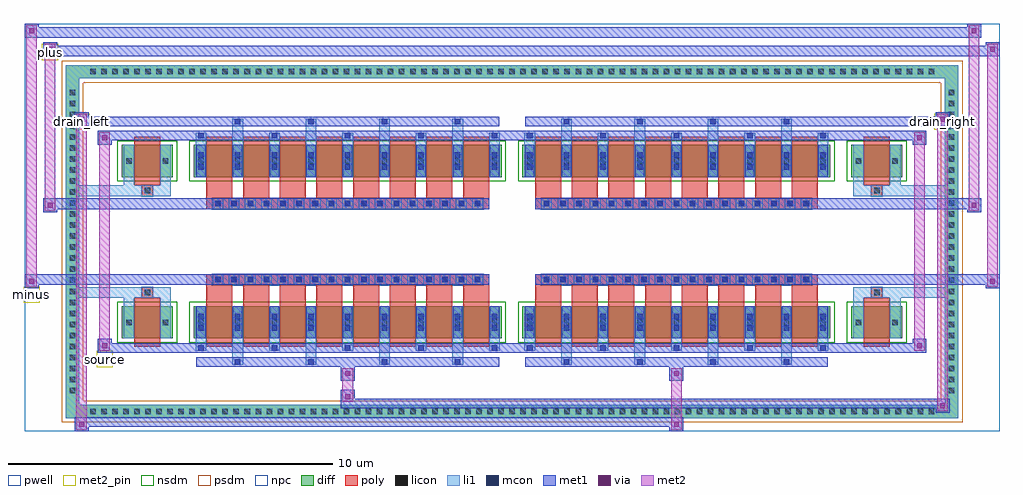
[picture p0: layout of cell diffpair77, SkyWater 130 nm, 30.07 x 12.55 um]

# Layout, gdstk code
import gdstk
lib = gdstk.Library(unit=1e-6, precision=5e-09)
def R(c, l, rs):  # rectangles x0, y0, x1, y1
    for r in rs: c.add(gdstk.rectangle(r[:2], r[2:], *l))
def A(c, l, x, y, w, h, nx, ny, dx, dy):  # array of equal rectangles
    R(c, l, [(x+i*dx, y+j*dy, x+i*dx+w, y+j*dy+h) for i in range(nx) for j in range(ny)])
def P(c, l, *ps):  # polygons
    for p in ps: c.add(gdstk.Polygon(p, *l))
pwell = (64, 44)
diff = (65, 20)
poly = (66, 20)
licon = (66, 44)
li1 = (67, 20)
mcon = (67, 44)
met1 = (68, 20)
via = (68, 44)
met2_pin = (69, 16)
met2 = (69, 20)
nsdm = (93, 44)
psdm = (94, 20)
npc = (95, 20)

diffpair77 = lib.new_cell('diffpair77')
R(diffpair77, pwell, [(-15.02,-5.84,15.02,6.71), (-12.34,-4.03,-0.01,-0.805), (0.01,-4.03,12.34,-0.805), (-12.34,0.805,-0.01,4.03), (0.01,0.805,12.34,4.03)])
A(diffpair77, diff, -13.125, -5.44, 0.41, 0.41, 77, 2, 0.34, 10.47)
A(diffpair77, diff, -13.75, -4.795, 0.41, 0.41, 1, 28, 0, 0.34)
A(diffpair77, diff, 13.34, -4.795, 0.41, 0.41, 1, 28, 0, 0.34)
R(diffpair77, diff, [(-13.125,-5.44,13.125,-5.03), (-13.75,-4.795,-13.34,4.795), (13.34,-4.795,13.75,4.795), (-12.03,-2.985,-10.45,-1.985), (-9.81,-2.985,-0.32,-1.985), (0.32,-2.985,9.81,-1.985), (10.45,-2.985,12.03,-1.985), (-12.03,1.985,-10.45,2.985), (-9.81,1.985,-0.32,2.985), (0.32,1.985,9.81,2.985), (10.45,1.985,12.03,2.985), (-13.125,5.03,13.125,5.44)])
P(diffpair77, diff, [(13.75,5.44),(-13.75,5.44),(-13.75,-5.03),(-13.34,-5.03),(-13.34,5.03),(13.34,5.03),(13.34,-5.03),(-13.34,-5.03),(-13.75,-5.03),(-13.75,-5.44),(13.75,-5.44)])
A(diffpair77, poly, -9.42, -3.235, 0.8, 1.5, 8, 2, 1.13, 4.97)
A(diffpair77, poly, 0.71, -3.235, 0.8, 1.5, 8, 2, 1.13, 4.97)
A(diffpair77, poly, -9.42, -1.735, 0.8, 0.4, 8, 2, 1.13, 3.07)
A(diffpair77, poly, 0.71, -1.735, 0.8, 0.4, 8, 2, 1.13, 3.07)
A(diffpair77, poly, -9.23, -1.335, 0.33, 0.33, 17, 2, 0.5, 2.34)
A(diffpair77, poly, 0.9, -1.335, 0.33, 0.33, 17, 2, 0.5, 2.34)
R(diffpair77, poly, [(-11.64,-3.235,-10.84,-1.735), (10.84,-3.235,11.64,-1.735), (-11.405,-1.735,-11.075,-1.405), (-11.405,-1.735,-11.075,-1.405), (11.075,-1.735,11.405,-1.405), (11.075,-1.735,11.405,-1.405), (-9.42,-1.335,-0.71,-1.005), (0.71,-1.335,9.42,-1.005), (-9.42,1.005,-0.71,1.335), (0.71,1.005,9.42,1.335), (-11.405,1.405,-11.075,1.735), (-11.405,1.405,-11.075,1.735), (11.075,1.405,11.405,1.735), (11.075,1.405,11.405,1.735), (-11.64,1.735,-10.84,3.235), (10.84,1.735,11.64,3.235)])
A(diffpair77, licon, -13.005, -5.32, 0.17, 0.17, 77, 2, 0.34, 10.47)
A(diffpair77, licon, -13.63, -4.675, 0.17, 0.17, 1, 28, 0, 0.34)
A(diffpair77, licon, 13.46, -4.675, 0.17, 0.17, 1, 28, 0, 0.34)
A(diffpair77, licon, -9.67, -2.57, 0.17, 0.17, 9, 2, 1.13, 4.97)
A(diffpair77, licon, 0.46, -2.57, 0.17, 0.17, 9, 2, 1.13, 4.97)
A(diffpair77, licon, -9.15, -1.255, 0.17, 0.17, 17, 2, 0.5, 2.34)
A(diffpair77, licon, 0.98, -1.255, 0.17, 0.17, 17, 2, 0.5, 2.34)
R(diffpair77, licon, [(-11.89,-2.57,-11.72,-2.4), (-10.76,-2.57,-10.59,-2.4), (10.59,-2.57,10.76,-2.4), (11.72,-2.57,11.89,-2.4), (-11.325,-1.655,-11.155,-1.485), (11.155,-1.655,11.325,-1.485), (-11.325,1.485,-11.155,1.655), (11.155,1.485,11.325,1.655), (-11.89,2.4,-11.72,2.57), (-10.76,2.4,-10.59,2.57), (10.59,2.4,10.76,2.57), (11.72,2.4,11.89,2.57)])
A(diffpair77, li1, -13.085, -5.4, 0.33, 0.33, 77, 2, 0.34, 10.47)
A(diffpair77, li1, -13.71, -4.755, 0.33, 0.33, 1, 28, 0, 0.34)
A(diffpair77, li1, 13.38, -4.755, 0.33, 0.33, 1, 28, 0, 0.34)
A(diffpair77, li1, -8.62, -3.79, 0.33, 0.805, 4, 2, 2.26, 6.775)
A(diffpair77, li1, -8.54, -3.79, 0.17, 0.17, 4, 2, 2.26, 7.41)
A(diffpair77, li1, 1.51, -3.79, 0.33, 0.805, 4, 2, 2.26, 6.775)
A(diffpair77, li1, 1.59, -3.79, 0.17, 0.17, 4, 2, 2.26, 7.41)
A(diffpair77, li1, -9.75, -3.36, 0.33, 0.375, 5, 2, 2.26, 6.345)
A(diffpair77, li1, -9.67, -3.36, 0.17, 0.17, 5, 2, 2.26, 6.55)
A(diffpair77, li1, 0.38, -3.36, 0.33, 0.375, 5, 2, 2.26, 6.345)
A(diffpair77, li1, 0.46, -3.36, 0.17, 0.17, 5, 2, 2.26, 6.55)
A(diffpair77, li1, -9.75, -2.985, 0.33, 1, 9, 2, 1.13, 4.97)
A(diffpair77, li1, 0.38, -2.985, 0.33, 1, 9, 2, 1.13, 4.97)
A(diffpair77, li1, -9.67, -2.75, 0.17, 0.17, 9, 2, 1.13, 0.36)
A(diffpair77, li1, -9.67, -2.75, 0.17, 0.53, 9, 2, 1.13, 4.97)
A(diffpair77, li1, 0.46, -2.75, 0.17, 0.17, 9, 2, 1.13, 0.36)
A(diffpair77, li1, 0.46, -2.75, 0.17, 0.53, 9, 2, 1.13, 4.97)
A(diffpair77, li1, -9.75, -2.65, 0.33, 0.33, 9, 2, 1.13, 4.97)
A(diffpair77, li1, 0.38, -2.65, 0.33, 0.33, 9, 2, 1.13, 4.97)
A(diffpair77, li1, -9.23, -1.335, 0.33, 0.33, 17, 2, 0.5, 2.34)
A(diffpair77, li1, 0.9, -1.335, 0.33, 0.33, 17, 2, 0.5, 2.34)
A(diffpair77, li1, -9.67, 2.22, 0.17, 0.17, 9, 2, 1.13, 0.36)
A(diffpair77, li1, 0.46, 2.22, 0.17, 0.17, 9, 2, 1.13, 0.36)
R(diffpair77, li1, [(-13.75,-5.44,-13.34,-5.03), (-13.75,-5.44,-13.34,-5.03), (-13.34,-5.44,13.34,-5.03), (13.34,-5.44,13.75,-5.03), (13.34,-5.44,13.75,-5.03), (-13.75,-5.03,-13.34,5.03), (13.34,-5.03,13.75,5.03), (-11.97,-2.985,-11.64,-1.985), (-10.84,-2.985,-10.51,-1.985), (10.51,-2.985,10.84,-1.985), (11.64,-2.985,11.97,-1.985), (-11.97,-2.65,-11.64,-2.32), (-10.84,-2.65,-10.51,-2.32), (10.51,-2.65,10.84,-2.32), (11.64,-2.65,11.97,-2.32), (-11.97,-1.985,-11.64,-1.405), (-10.84,-1.985,-10.51,-1.405), (10.51,-1.985,10.84,-1.405), (11.64,-1.985,11.97,-1.405), (-13.75,-1.735,-11.405,-1.405), (-11.97,-1.735,-11.405,-1.405), (-11.405,-1.735,-11.075,-1.405), (-11.075,-1.735,-10.51,-1.405), (10.51,-1.735,11.075,-1.405), (11.075,-1.735,11.405,-1.405), (11.075,-1.735,13.75,-1.405), (11.405,-1.735,11.97,-1.405), (-13.75,1.405,-11.405,1.735), (-11.97,1.405,-11.405,1.735), (-11.97,1.405,-11.64,1.985), (-11.405,1.405,-11.075,1.735), (-11.075,1.405,-10.51,1.735), (-10.84,1.405,-10.51,1.985), (10.51,1.405,11.075,1.735), (10.51,1.405,10.84,1.985), (11.075,1.405,11.405,1.735), (11.075,1.405,13.75,1.735), (11.405,1.405,11.97,1.735), (11.64,1.405,11.97,1.985), (-11.97,1.985,-11.64,2.985), (-10.84,1.985,-10.51,2.985), (10.51,1.985,10.84,2.985), (11.64,1.985,11.97,2.985), (-11.97,2.32,-11.64,2.65), (-10.84,2.32,-10.51,2.65), (10.51,2.32,10.84,2.65), (11.64,2.32,11.97,2.65), (-13.75,5.03,-13.34,5.44), (-13.75,5.03,-13.34,5.44), (-13.34,5.03,13.34,5.44), (13.34,5.03,13.75,5.44), (13.34,5.03,13.75,5.44)])
A(diffpair77, mcon, -8.54, -3.79, 0.17, 0.17, 4, 2, 2.26, 7.41)
A(diffpair77, mcon, 1.59, -3.79, 0.17, 0.17, 4, 2, 2.26, 7.41)
A(diffpair77, mcon, -9.67, -3.36, 0.17, 0.17, 5, 2, 2.26, 6.55)
A(diffpair77, mcon, 0.46, -3.36, 0.17, 0.17, 5, 2, 2.26, 6.55)
A(diffpair77, mcon, -9.67, -2.75, 0.17, 0.17, 9, 2, 1.13, 0.36)
A(diffpair77, mcon, 0.46, -2.75, 0.17, 0.17, 9, 2, 1.13, 0.36)
A(diffpair77, mcon, -9.15, -1.255, 0.17, 0.17, 17, 2, 0.5, 2.34)
A(diffpair77, mcon, 0.98, -1.255, 0.17, 0.17, 17, 2, 0.5, 2.34)
A(diffpair77, mcon, -9.67, 2.22, 0.17, 0.17, 9, 2, 1.13, 0.36)
A(diffpair77, mcon, 0.46, 2.22, 0.17, 0.17, 9, 2, 1.13, 0.36)
A(diffpair77, met1, -8.6, -3.85, 0.29, 0.29, 4, 2, 2.26, 7.41)
A(diffpair77, met1, 1.53, -3.85, 0.29, 0.29, 4, 2, 2.26, 7.41)
A(diffpair77, met1, -9.73, -3.42, 0.29, 0.29, 5, 2, 2.26, 6.55)
A(diffpair77, met1, 0.4, -3.42, 0.29, 0.29, 5, 2, 2.26, 6.55)
A(diffpair77, met1, -9.73, -2.985, 0.29, 1, 9, 2, 1.13, 4.97)
A(diffpair77, met1, 0.4, -2.985, 0.29, 1, 9, 2, 1.13, 4.97)
A(diffpair77, met1, -9.73, -2.81, 0.29, 0.29, 9, 2, 1.13, 0.36)
A(diffpair77, met1, 0.4, -2.81, 0.29, 0.29, 9, 2, 1.13, 0.36)
A(diffpair77, met1, -9.21, -1.315, 0.29, 0.29, 17, 2, 0.5, 2.34)
A(diffpair77, met1, 0.92, -1.315, 0.29, 0.29, 17, 2, 0.5, 2.34)
A(diffpair77, met1, -9.73, 2.16, 0.29, 0.29, 9, 2, 1.13, 0.36)
A(diffpair77, met1, 0.4, 2.16, 0.29, 0.29, 9, 2, 1.13, 0.36)
R(diffpair77, met1, [(-13.48,-5.84,-13.05,-5.41), (4.85,-5.84,5.28,-5.41), (-13.48,-5.7,5.28,-5.41), (13.05,-5.27,13.48,-4.84), (-5.28,-5.13,13.48,-4.84), (-5.28,-4.99,-4.85,-4.56), (-5.28,-4.28,-4.85,-3.85), (4.85,-4.28,5.28,-3.85), (-9.73,-3.85,-0.4,-3.56), (0.4,-3.85,9.73,-3.56), (-12.77,-3.42,-12.34,-2.99), (-12.77,-3.42,-9.73,-3.13), (-9.73,-3.42,-0.4,-3.13), (-0.4,-3.42,0.4,-3.13), (0.4,-3.42,9.73,-3.13), (9.73,-3.42,12.77,-3.13), (12.34,-3.42,12.77,-2.99), (-15.02,-1.435,-14.59,-1.005), (14.59,-1.435,15.02,-1.005), (-15.02,-1.335,-0.71,-1.005), (-9.42,-1.335,-0.71,-1.005), (0.71,-1.335,9.42,-1.005), (0.71,-1.335,15.02,-1.005), (-14.45,0.905,-14.02,1.335), (14.02,0.905,14.45,1.335), (-14.45,1.005,-9.42,1.335), (-9.42,1.005,-0.71,1.335), (0.71,1.005,9.42,1.335), (9.42,1.005,14.45,1.335), (-12.77,2.99,-12.34,3.42), (12.34,2.99,12.77,3.42), (-12.77,3.13,-9.73,3.42), (-9.73,3.13,-0.4,3.42), (-0.4,3.13,0.4,3.42), (0.4,3.13,9.73,3.42), (9.73,3.13,12.77,3.42), (-13.48,3.56,-13.05,3.99), (-13.48,3.56,-9.73,3.85), (-9.73,3.56,-0.4,3.85), (0.4,3.56,9.73,3.85), (9.73,3.56,13.48,3.85), (13.05,3.56,13.48,3.99), (-14.45,5.71,-14.02,6.14), (-14.45,5.71,-12.34,6.04), (-12.34,5.71,12.34,6.04), (12.34,5.71,15.02,6.04), (14.59,5.71,15.02,6.14), (-15.02,6.28,-14.59,6.71), (-15.02,6.28,-12.34,6.61), (-12.34,6.28,12.34,6.61), (12.34,6.28,14.45,6.61), (14.02,6.28,14.45,6.71)])
R(diffpair77, via, [(-13.34,-5.7,-13.19,-5.55), (4.99,-5.7,5.14,-5.55), (13.19,-5.13,13.34,-4.98), (-5.14,-4.85,-4.99,-4.7), (-5.14,-4.14,-4.99,-3.99), (4.99,-4.14,5.14,-3.99), (-12.63,-3.28,-12.48,-3.13), (12.48,-3.28,12.63,-3.13), (-14.88,-1.295,-14.73,-1.145), (14.73,-1.295,14.88,-1.145), (-14.31,1.045,-14.16,1.195), (14.16,1.045,14.31,1.195), (-12.63,3.13,-12.48,3.28), (12.48,3.13,12.63,3.28), (-13.34,3.7,-13.19,3.85), (13.19,3.7,13.34,3.85), (-14.31,5.85,-14.16,6), (14.73,5.85,14.88,6), (-14.88,6.42,-14.73,6.57), (14.16,6.42,14.31,6.57)])
R(diffpair77, met2_pin, [(-12.805,-3.87,-12.305,-3.37), (-15.055,-1.885,-14.555,-1.385), (-13.515,3.44,-13.015,3.94), (13.015,3.44,13.515,3.94), (-14.485,5.59,-13.985,6.09)])
R(diffpair77, met2, [(-13.43,-5.79,-13.1,-5.46), (-13.43,-5.79,-13.1,3.94), (4.9,-5.79,5.23,-5.46), (4.9,-5.46,5.23,-4.23), (13.1,-5.22,13.43,-4.89), (13.1,-5.22,13.43,3.94), (-5.23,-4.94,-4.9,-4.61), (-5.23,-4.61,-4.9,-4.23), (-5.23,-4.23,-4.9,-3.9), (4.9,-4.23,5.23,-3.9), (-12.72,-3.37,-12.39,-3.04), (-12.72,-3.37,-12.39,3.37), (12.39,-3.37,12.72,-3.04), (12.39,-3.37,12.72,3.37), (-14.97,-1.385,-14.64,-1.055), (-14.97,-1.385,-14.64,6.66), (14.64,-1.385,14.97,-1.055), (14.64,-1.385,14.97,6.09), (-14.4,0.955,-14.07,1.285), (-14.4,0.955,-14.07,6.09), (14.07,0.955,14.4,1.285), (14.07,0.955,14.4,6.66), (-12.72,3.04,-12.39,3.37), (12.39,3.04,12.72,3.37), (-13.43,3.61,-13.1,3.94), (13.1,3.61,13.43,3.94), (-14.4,5.76,-14.07,6.09), (14.64,5.76,14.97,6.09), (-14.97,6.33,-14.64,6.66), (14.07,6.33,14.4,6.66)])
P(diffpair77, met2, [(14.97,-1.385),(14.97,-1.385),(14.97,-1.055),(14.97,-1.055)],
  [(14.97,5.76),(14.97,5.76),(14.97,6.09),(14.97,6.09)],
  [(-14.64,-1.385),(-14.64,-1.385),(-14.64,-1.055),(-14.64,-1.055)],
  [(-14.64,6.33),(-14.64,6.33),(-14.64,6.66),(-14.64,6.66)],
  [(14.4,0.955),(14.4,0.955),(14.4,1.285),(14.4,1.285)],
  [(14.4,6.33),(14.4,6.33),(14.4,6.66),(14.4,6.66)],
  [(-14.07,0.955),(-14.07,0.955),(-14.07,1.285),(-14.07,1.285)],
  [(-14.07,5.76),(-14.07,5.76),(-14.07,6.09),(-14.07,6.09)],
  [(-13.1,-5.79),(-13.1,-5.79),(-13.1,-5.46),(-13.1,-5.46)],
  [(-13.1,3.61),(-13.1,3.61),(-13.1,3.94),(-13.1,3.94)],
  [(13.43,-5.22),(13.43,-5.22),(13.43,-4.89),(13.43,-4.89)],
  [(13.43,3.61),(13.43,3.61),(13.43,3.94),(13.43,3.94)],
  [(-12.39,-3.37),(-12.39,-3.37),(-12.39,-3.04),(-12.39,-3.04)],
  [(-12.39,3.04),(-12.39,3.04),(-12.39,3.37),(-12.39,3.37)],
  [(12.72,-3.37),(12.72,-3.37),(12.72,-3.04),(12.72,-3.04)],
  [(12.72,3.04),(12.72,3.04),(12.72,3.37),(12.72,3.37)])
R(diffpair77, nsdm, [(-12.16,-3.115,-10.32,-1.855), (-9.94,-3.115,-0.19,-1.855), (0.19,-3.115,9.94,-1.855), (10.32,-3.115,12.16,-1.855), (-12.16,1.855,-10.32,3.115), (-9.94,1.855,-0.19,3.115), (0.19,1.855,9.94,3.115), (10.32,1.855,12.16,3.115)])
P(diffpair77, psdm, [(13.88,5.57),(-13.88,5.57),(-13.88,-4.9),(-13.21,-4.9),(-13.21,4.9),(13.21,4.9),(13.21,-4.9),(-13.21,-4.9),(-13.88,-4.9),(-13.88,-5.57),(13.88,-5.57)])
A(diffpair77, npc, -9.25, -1.355, 0.37, 0.37, 17, 2, 0.5, 2.34)
A(diffpair77, npc, 0.88, -1.355, 0.37, 0.37, 17, 2, 0.5, 2.34)
R(diffpair77, npc, [(-11.425,-1.755,-11.055,-1.385), (11.055,-1.755,11.425,-1.385), (-9.25,-1.355,-8.38,-0.985), (-9.25,-1.355,-8.38,-0.985), (-8.75,-1.355,-7.88,-0.985), (-8.75,-1.355,-7.88,-0.985), (-8.25,-1.355,-7.38,-0.985), (-8.25,-1.355,-7.38,-0.985), (-7.75,-1.355,-6.88,-0.985), (-7.75,-1.355,-6.88,-0.985), (-7.25,-1.355,-6.38,-0.985), (-7.25,-1.355,-6.38,-0.985), (-6.75,-1.355,-5.88,-0.985), (-6.75,-1.355,-5.88,-0.985), (-6.25,-1.355,-5.38,-0.985), (-6.25,-1.355,-5.38,-0.985), (-5.75,-1.355,-4.88,-0.985), (-5.75,-1.355,-4.88,-0.985), (-5.25,-1.355,-4.38,-0.985), (-5.25,-1.355,-4.38,-0.985), (-4.75,-1.355,-3.88,-0.985), (-4.75,-1.355,-3.88,-0.985), (-4.25,-1.355,-3.38,-0.985), (-4.25,-1.355,-3.38,-0.985), (-3.75,-1.355,-2.88,-0.985), (-3.75,-1.355,-2.88,-0.985), (-3.25,-1.355,-2.38,-0.985), (-3.25,-1.355,-2.38,-0.985), (-2.75,-1.355,-1.88,-0.985), (-2.75,-1.355,-1.88,-0.985), (-2.25,-1.355,-1.38,-0.985), (-2.25,-1.355,-1.38,-0.985), (-1.75,-1.355,-0.88,-0.985), (-1.75,-1.355,-0.88,-0.985), (0.88,-1.355,1.75,-0.985), (0.88,-1.355,1.75,-0.985), (1.38,-1.355,2.25,-0.985), (1.38,-1.355,2.25,-0.985), (1.88,-1.355,2.75,-0.985), (1.88,-1.355,2.75,-0.985), (2.38,-1.355,3.25,-0.985), (2.38,-1.355,3.25,-0.985), (2.88,-1.355,3.75,-0.985), (2.88,-1.355,3.75,-0.985), (3.38,-1.355,4.25,-0.985), (3.38,-1.355,4.25,-0.985), (3.88,-1.355,4.75,-0.985), (3.88,-1.355,4.75,-0.985), (4.38,-1.355,5.25,-0.985), (4.38,-1.355,5.25,-0.985), (4.88,-1.355,5.75,-0.985), (4.88,-1.355,5.75,-0.985), (5.38,-1.355,6.25,-0.985), (5.38,-1.355,6.25,-0.985), (5.88,-1.355,6.75,-0.985), (5.88,-1.355,6.75,-0.985), (6.38,-1.355,7.25,-0.985), (6.38,-1.355,7.25,-0.985), (6.88,-1.355,7.75,-0.985), (6.88,-1.355,7.75,-0.985), (7.38,-1.355,8.25,-0.985), (7.38,-1.355,8.25,-0.985), (7.88,-1.355,8.75,-0.985), (7.88,-1.355,8.75,-0.985), (8.38,-1.355,9.25,-0.985), (8.38,-1.355,9.25,-0.985), (-9.25,0.985,-8.38,1.355), (-9.25,0.985,-8.38,1.355), (-8.75,0.985,-7.88,1.355), (-8.75,0.985,-7.88,1.355), (-8.25,0.985,-7.38,1.355), (-8.25,0.985,-7.38,1.355), (-7.75,0.985,-6.88,1.355), (-7.75,0.985,-6.88,1.355), (-7.25,0.985,-6.38,1.355), (-7.25,0.985,-6.38,1.355), (-6.75,0.985,-5.88,1.355), (-6.75,0.985,-5.88,1.355), (-6.25,0.985,-5.38,1.355), (-6.25,0.985,-5.38,1.355), (-5.75,0.985,-4.88,1.355), (-5.75,0.985,-4.88,1.355), (-5.25,0.985,-4.38,1.355), (-5.25,0.985,-4.38,1.355), (-4.75,0.985,-3.88,1.355), (-4.75,0.985,-3.88,1.355), (-4.25,0.985,-3.38,1.355), (-4.25,0.985,-3.38,1.355), (-3.75,0.985,-2.88,1.355), (-3.75,0.985,-2.88,1.355), (-3.25,0.985,-2.38,1.355), (-3.25,0.985,-2.38,1.355), (-2.75,0.985,-1.88,1.355), (-2.75,0.985,-1.88,1.355), (-2.25,0.985,-1.38,1.355), (-2.25,0.985,-1.38,1.355), (-1.75,0.985,-0.88,1.355), (-1.75,0.985,-0.88,1.355), (0.88,0.985,1.75,1.355), (0.88,0.985,1.75,1.355), (1.38,0.985,2.25,1.355), (1.38,0.985,2.25,1.355), (1.88,0.985,2.75,1.355), (1.88,0.985,2.75,1.355), (2.38,0.985,3.25,1.355), (2.38,0.985,3.25,1.355), (2.88,0.985,3.75,1.355), (2.88,0.985,3.75,1.355), (3.38,0.985,4.25,1.355), (3.38,0.985,4.25,1.355), (3.88,0.985,4.75,1.355), (3.88,0.985,4.75,1.355), (4.38,0.985,5.25,1.355), (4.38,0.985,5.25,1.355), (4.88,0.985,5.75,1.355), (4.88,0.985,5.75,1.355), (5.38,0.985,6.25,1.355), (5.38,0.985,6.25,1.355), (5.88,0.985,6.75,1.355), (5.88,0.985,6.75,1.355), (6.38,0.985,7.25,1.355), (6.38,0.985,7.25,1.355), (6.88,0.985,7.75,1.355), (6.88,0.985,7.75,1.355), (7.38,0.985,8.25,1.355), (7.38,0.985,8.25,1.355), (7.88,0.985,8.75,1.355), (7.88,0.985,8.75,1.355), (8.38,0.985,9.25,1.355), (8.38,0.985,9.25,1.355), (-11.425,1.385,-11.055,1.755), (11.055,1.385,11.425,1.755)])
diffpair77.add(gdstk.Label('minus', (-14.805,-1.635), layer=69, texttype=5))
diffpair77.add(gdstk.Label('drain_right', (13.265,3.69), layer=69, texttype=5))
diffpair77.add(gdstk.Label('drain_left', (-13.265,3.69), layer=69, texttype=5))
diffpair77.add(gdstk.Label('source', (-12.555,-3.62), layer=69, texttype=5))
diffpair77.add(gdstk.Label('plus', (-14.235,5.84), layer=69, texttype=5))

lib.write_gds('diffpair77.gds')
